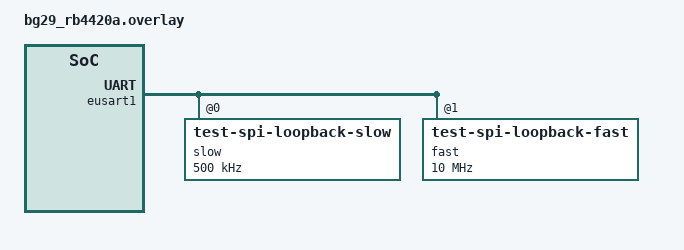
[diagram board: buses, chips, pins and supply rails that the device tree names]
/*
 * Copyright (c) 2025 Silicon Laboratories Inc.
 *
 * SPDX-License-Identifier: Apache-2.0
 */

#include <dt-bindings/pinctrl/silabs/xg29-pinctrl.h>

/*
 * Connect EXP4 (PC0) and EXP6 (PC1) of the Expansion Pin header
 */

&eusart1 {
	dmas = <&dma0 DMA_REQSEL_EUSART1TXFL>,
	       <&dma0 DMA_REQSEL_EUSART1RXFL>;
	dma-names = "tx", "rx";
	#address-cells = <1>;
	#size-cells = <0>;
	pinctrl-0 = <&eusart1_default>;
	pinctrl-names = "default";
	status = "okay";
	cs-gpios = <&gpioc 6 GPIO_ACTIVE_LOW>;
	slow@0 {
		compatible = "test-spi-loopback-slow";
		reg = <0>;
		spi-max-frequency = <500000>;
	};
	fast@1 {
		compatible = "test-spi-loopback-fast";
		reg = <1>;
		spi-max-frequency = <10000000>;
	};
};

&dma0 {
	status = "okay";
};
